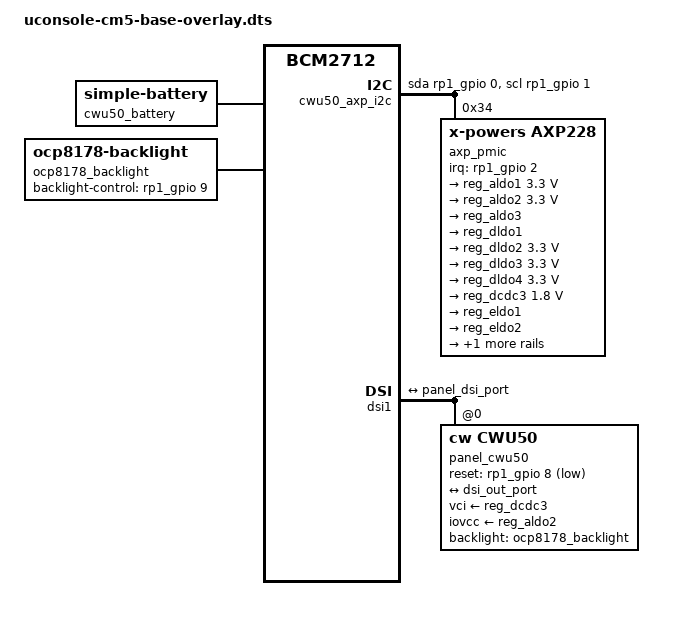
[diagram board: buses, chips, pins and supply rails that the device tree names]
/*
 * uconsole-cm5-base-overlay.dts
 */

/dts-v1/;
/plugin/;

/ {
	compatible = "brcm,bcm2712";

	/* ---- AXP228 PMIC on bit-bang i2c (RP1 GPIO0=SDA, GPIO1=SCL) ---- */
	fragment@0 {
		target-path = "/";
		__overlay__ {
			cwu50_axp_i2c: i2c-gpio-axp {
				compatible = "i2c-gpio";
				gpios = <&rp1_gpio 0 6>, <&rp1_gpio 1 6>;   /* SDA,SCL; 6=ACTIVE_HIGH|OPEN_DRAIN */
				i2c-gpio,delay-us = <2>;
				#address-cells = <1>;
				#size-cells = <0>;

				axp_pmic: pmic@34 {
					interrupt-controller;
					#interrupt-cells = <1>;
					compatible = "x-powers,axp228", "x-powers,axp223", "x-powers,axp221";
					reg = <0x34>;
					interrupt-parent = <&rp1_gpio>;
					interrupts = <2 8>;                 /* GPIO2, level-low [dump] */
					irq-gpios = <&rp1_gpio 2 0>;

					regulators {
						x-powers,dcdc-freq = <3000>;
						reg_aldo1: aldo1 {
							regulator-always-on;
							regulator-min-microvolt = <3300000>;
							regulator-max-microvolt = <3300000>;
							regulator-name = "audio-vdd";
						};
						reg_aldo2: aldo2 {
							regulator-always-on;
							regulator-min-microvolt = <3300000>;
							regulator-max-microvolt = <3300000>;
							regulator-name = "disp-vcc";
						};
						reg_aldo3: aldo3 {
							regulator-boot-off;
							regulator-name = "wifi-vdd";
						};
						reg_dldo1: dldo1 {
							regulator-boot-off;
							regulator-name = "wifi-vbat-1";
						};
						reg_dldo2: dldo2 {
							regulator-always-on;
							regulator-min-microvolt = <3300000>;
							regulator-max-microvolt = <3300000>;
							regulator-name = "ext-3v3-1";
						};
						reg_dldo3: dldo3 {
							regulator-always-on;
							regulator-min-microvolt = <3300000>;
							regulator-max-microvolt = <3300000>;
							regulator-name = "ext-3v3-2";
						};
						reg_dldo4: dldo4 {
							regulator-always-on;
							regulator-min-microvolt = <3300000>;
							regulator-max-microvolt = <3300000>;
							regulator-name = "ext-3v3-3";
						};
						reg_dcdc3: dcdc3 {
							regulator-always-on;
							regulator-min-microvolt = <1800000>;
							regulator-max-microvolt = <1800000>;
							regulator-name = "sys-1v8";
						};
						reg_eldo1: eldo1 {
							regulator-boot-off;
							regulator-name = "wifi-vbat-2";
						};
						reg_eldo2: eldo2 {
							regulator-boot-off;
							regulator-name = "wifi-vbat-3";
						};
						reg_eldo3: eldo3 {
							regulator-boot-off;
							regulator-name = "wifi-vbat-4";
						};
					};

					battery_power_supply: battery-power-supply {
						compatible = "x-powers,axp221-battery-power-supply";
						monitored-battery = <&cwu50_battery>;
					};
					ac_power_supply: ac_power_supply {
						compatible = "x-powers,axp221-ac-power-supply";
					};
					usb_power_supply: usb-power {
						compatible = "x-powers,axp223-usb-power-supply";
						status = "disabled";
					};
					axp_adc: adc {
						compatible = "x-powers,axp221-adc";
						#io-channel-cells = <1>;
					};
					axp_gpio: gpio {
						compatible = "x-powers,axp221-gpio";
						#gpio-cells = <2>;
						gpio-controller;
						status = "disabled";
						gpio0_out: gpio0-out-pin {
							pins = "GPIO0";
							function = "gpio_out";
						};
					};
				};
			};
		};
	};

	/* ---- battery (simple-battery) ---- */
	fragment@1 {
		target-path = "/";
		__overlay__ {
			cwu50_battery: battery@0 {
				compatible = "simple-battery";
				device-chemistry = "lithium-ion";
				constant-charge-current-max-microamp = <2100000>;
				voltage-max-design-microvolt = <4200000>;
				re-charge-voltage-microvolt = <4000000>;
				voltage-min-design-microvolt = <2900000>;
				energy-full-design-microwatt-hours = <24790000>;
				charge-full-design-microamp-hours = <6700000>;
			};
		};
	};

	/* ---- ocp8178 backlight ---- */
	fragment@2 {
		target-path = "/";
		__overlay__ {
			ocp8178_backlight: backlight@0 {
				compatible = "ocp8178-backlight";
				backlight-control-gpios = <&rp1_gpio 9 0>;
				default-brightness = <5>;
			};
		};
	};

	/* ---- DSI1 + panel + host clocks (byte/DPI) ---- */
	fragment@3 {
		target = <&dsi1>;
		__overlay__ {
			#address-cells = <1>;
			#size-cells = <0>;
			status = "okay";
			assigned-clocks = <&rp1_clocks 46>, <&rp1_clocks 42>;   /* 46=BYTECLOCK, 42=DPI */
			assigned-clock-rates = <45833333>, <61111240>;         /* from Rex CM5 overlay */
			port {
				dsi_out_port: endpoint {
					remote-endpoint = <&panel_dsi_port>;
				};
			};
			panel_cwu50: panel@0 {
				compatible = "cw,cwu50";
				reg = <0>;
				reset-gpio = <&rp1_gpio 8 1>;               /* 1=GPIO_ACTIVE_LOW */
				backlight = <&ocp8178_backlight>;
				rotation = <90>;
				vci-supply = <&reg_dcdc3>;
				iovcc-supply = <&reg_aldo2>;
				status = "okay";
				port {
					panel_dsi_port: endpoint {
						remote-endpoint = <&dsi_out_port>;
					};
				};
			};
		};
	};
};
